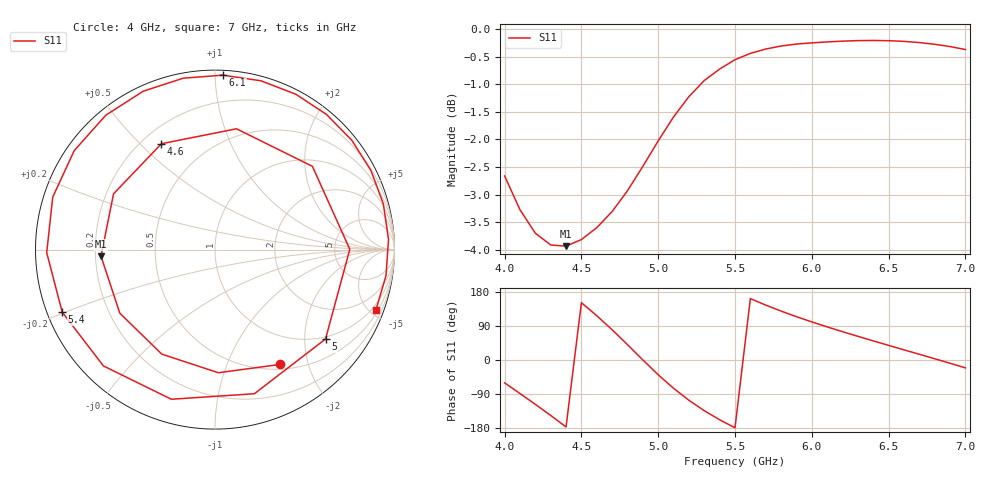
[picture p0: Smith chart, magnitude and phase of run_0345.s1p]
! Touchstone file exported from HFSS 2024.2.0
!  File:  C:/Users/wsak9/Desktop/Sim Fast/Widenad Patch/WP_AI_V1_sweep.aedt
!  Generated:  05:38:21 AM Oct 14, 2026
!  Design:  A1_model
!  Project:  WP_AI_V1_sweep
!  Setup:  Setup1
!  Solution:  Sweep
! Variables:
!  Air_gap = 4.98mm
!  Curve_Amp1 = 1.31
!  Curve_len1 = 1
!  Curve_pos = 13mm
!  Extra = 3.43mm
!  H_sub = 0.79mm
!  L_Patch = 22mm
!  L_Patch1 = 20.32mm
!  Sx = 3.07mm
!  Sy = 2.3mm
!  WS = 0.9mm
!  W_Patch = 11.16mm
!  W_Patch1 = 16.89mm
!Data is not renormalized
# GHz S MA
! Terminal data exported
! Port[1] = 1
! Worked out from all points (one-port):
!   31 points, 4 GHz to 7 GHz, reference per port
!   lowest |S11| = -3.9 dB at 4.4 GHz (marker M1), VSWR 4.50
!   |S11| at or under -10 dB: nowhere
!   S11 on the Smith chart (normalised r, x): 4 GHz: 0.56, -1.57; 4.6 GHz: 0.28, +0.58; 5 GHz: 0.94, -2.52; 5.4 GHz: 0.04, -0.20; 6.1 GHz: 0.03, +1.05; 7 GHz: 0.65, -5.39
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4  0.7363 -60.3
4.1  0.6863 -88.4
4.2  0.6535 -117.0
4.3  0.6378 -146.3
4.4  0.6362 -176.7
4.5  0.645 151.2
4.6  0.6611 116.9
4.7  0.6837 79.9
4.8  0.714 40.5
4.9  0.7511 0.1
5  0.792 -39.0
5.1  0.8325 -74.7
5.2  0.8685 -106.3
5.3  0.898 -133.8
5.4  0.9197 -157.7
5.5  0.9378 -178.9
5.6  0.9502 162.1
5.7  0.9589 144.9
5.8  0.9649 129.1
5.9  0.9688 114.4
6  0.9713 100.5
6.1  0.9731 87.4
6.2  0.9747 74.7
6.3  0.9758 62.5
6.5  0.9756 38.6
6.7  0.9718 15.1
6.9  0.9638 -8.6
7  0.9579 -20.7
